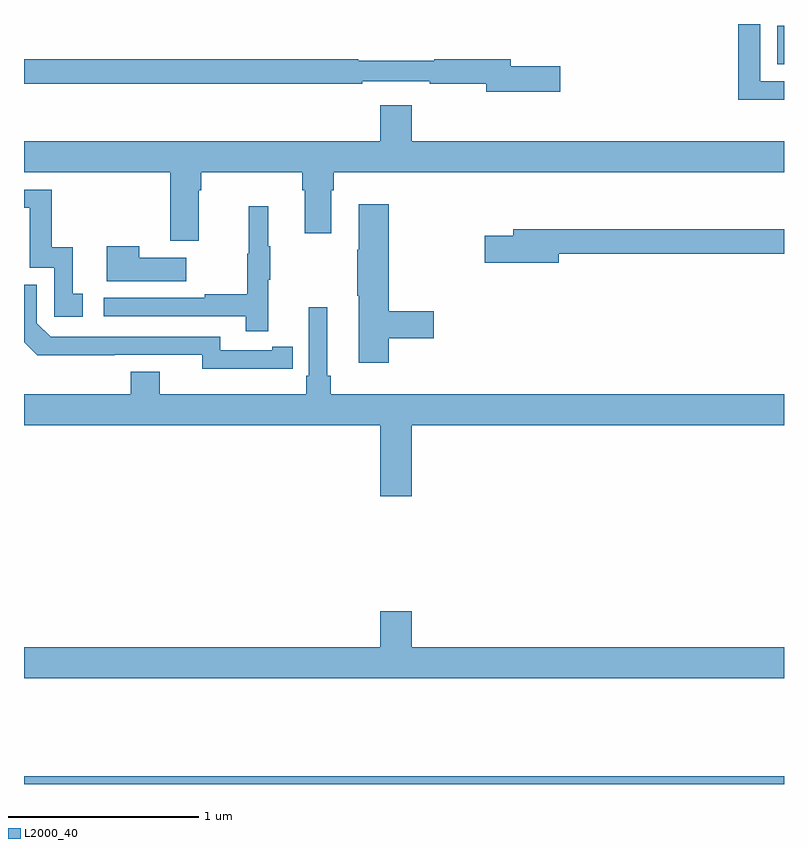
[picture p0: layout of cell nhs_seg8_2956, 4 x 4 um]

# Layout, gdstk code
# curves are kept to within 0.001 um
import gdstk
lib = gdstk.Library(unit=1e-6, precision=1e-09)
def R(c, l, rs):  # rectangles x0, y0, x1, y1
    for r in rs: c.add(gdstk.rectangle(r[:2], r[2:], *l))
def P(c, l, *ps):  # polygons
    for p in ps: c.add(gdstk.Polygon(p, *l))
L2000_40 = (2000, 40)

nhs_seg8_2956 = lib.new_cell('nhs_seg8_2956')
R(nhs_seg8_2956, L2000_40, [(295,1159.9,299,1159.94), (298.964,1163.687,299,1163.89)])
P(nhs_seg8_2956, L2000_40, [(299,1163.598),(298.875,1163.598),(298.875,1163.9),(298.759,1163.9),(298.759,1163.501),(299,1163.501)],
  [(297.823,1163.678),(297.562,1163.678),(297.562,1163.714),(297.158,1163.714),(297.158,1163.707),(296.758,1163.707),(296.758,1163.714),(295,1163.714),(295,1163.586),(296.78,1163.586),(296.78,1163.598),(297.136,1163.598),(297.136,1163.586),(297.434,1163.586),(297.434,1163.543),(297.823,1163.543)],
  [(295.921,1163.024),(295.934,1163.024),(295.934,1163.12),(296.465,1163.12),(296.465,1163.024),(296.477,1163.024),(296.477,1162.8),(296.617,1162.8),(296.617,1163.024),(296.63,1163.024),(296.63,1163.12),(299,1163.12),(299,1163.284),(297.04,1163.284),(297.04,1163.473),(296.876,1163.473),(296.876,1163.284),(295,1163.284),(295,1163.12),(295.769,1163.12),(295.769,1162.758),(295.921,1162.758)],
  [(295.309,1162.479),(295.256,1162.479),(295.256,1162.726),(295.145,1162.726),(295.145,1163.028),(295,1163.028),(295,1162.932),(295.029,1162.932),(295.029,1162.617),(295.158,1162.617),(295.158,1162.359),(295.309,1162.359)],
  [(296.921,1162.246),(297.157,1162.246),(297.157,1162.388),(296.921,1162.388),(296.921,1162.951),(296.762,1162.951),(296.762,1162.712),(296.755,1162.712),(296.755,1162.471),(296.762,1162.471),(296.762,1162.116),(296.921,1162.116)],
  [(296.285,1162.555),(296.296,1162.555),(296.296,1162.729),(296.285,1162.729),(296.285,1162.942),(296.182,1162.942),(296.182,1162.692),(296.175,1162.692),(296.175,1162.478),(295.951,1162.478),(295.951,1162.458),(295.419,1162.458),(295.419,1162.362),(296.167,1162.362),(296.167,1162.284),(296.285,1162.284)],
  [(297.814,1162.69),(299,1162.69),(299,1162.819),(297.575,1162.819),(297.575,1162.785),(297.426,1162.785),(297.426,1162.643),(297.814,1162.643)],
  [(295.855,1162.669),(295.607,1162.669),(295.607,1162.729),(295.436,1162.729),(295.436,1162.547),(295.855,1162.547)],
  [(296.306,1162.086),(296.414,1162.086),(296.414,1162.202),(296.306,1162.202),(296.306,1162.182),(296.034,1162.182),(296.034,1162.254),(295.14,1162.254),(295.068,1162.326),(295.068,1162.527),(295,1162.527),(295,1162.226),(295.07,1162.157),(295.938,1162.158),(295.938,1162.085)],
  [(297.04,1161.788),(299,1161.788),(299,1161.952),(296.615,1161.952),(296.615,1162.048),(296.596,1162.048),(296.596,1162.408),(296.499,1162.408),(296.499,1162.048),(296.486,1162.048),(296.486,1161.952),(295.714,1161.952),(295.714,1162.069),(295.562,1162.069),(295.562,1161.952),(295,1161.952),(295,1161.788),(296.876,1161.788),(296.876,1161.414),(297.04,1161.414)],
  [(299,1160.62),(297.04,1160.62),(297.04,1160.809),(296.876,1160.809),(296.876,1160.62),(295,1160.62),(295,1160.456),(299,1160.456)])

lib.write_gds('nhs_seg8_2956.gds')
